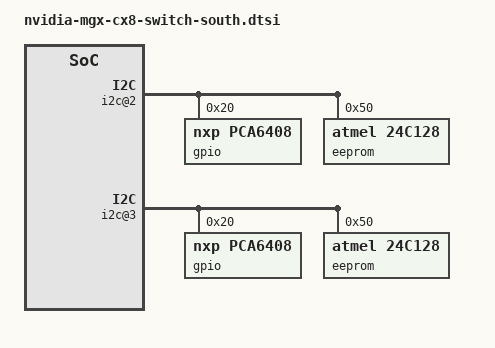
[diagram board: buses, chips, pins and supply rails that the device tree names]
// SPDX-License-Identifier: GPL-2.0-or-later
// Copyright 2025 Nvidia

eeprom@56 {
	compatible = "atmel,24c128";
	reg = <0x56>;
};

gpio@26 {
	compatible = "nxp,pca9555";
	reg = <0x26>;
	gpio-controller;
	#gpio-cells = <2>;
	gpio-line-names = "WP_QSPI_CX1", "RST_SEQ_CX1_L",
			  "BOOT_CMPLT_CX1", "FNP_CX1_L",
			  "WP_FRU_CX1", "OVT_SHUTDOWN_CX1",
			  "TMP_WARNING_CX1", "USB_HUB2_RST_L",
			  "I2C_SWITCH2_RESET", "",
			  "", "",
			  "", "",
			  "", "";
};

i2c-mux@72 {
	compatible = "nxp,pca9546";
	reg = <0x72>;
	i2c-mux-idle-disconnect;
	#address-cells = <1>;
	#size-cells = <0>;

	i2c@0 {
		#address-cells = <1>;
		#size-cells = <0>;
		reg = <0>;
	};
	i2c@1 {
		#address-cells = <1>;
		#size-cells = <0>;
		reg = <1>;
	};
	i2c@2 {
		#address-cells = <1>;
		#size-cells = <0>;
		reg = <2>;
		gpio@20 {
			reg = <0x20>;
			gpio-controller;
			compatible = "nxp,pca6408";
			#gpio-cells = <2>;
			gpio-line-names = "GLOBAL_WP", "OOB_RST_N",
					  "OOB_RECOVERY", "MCU_RECOVERY_N",
					  "MCU_RST_N", "MCU_BYPASS_N",
					  "SMBUS_FRU_EEPROM_WP", "";
		};
		eeprom@50 {
			reg = <0x50>;
			compatible = "atmel,24c128";
		};
	};
	i2c@3 {
		#address-cells = <1>;
		#size-cells = <0>;
		reg = <3>;
		gpio@20 {
			reg = <0x20>;
			gpio-controller;
			compatible = "nxp,pca6408";
			#gpio-cells = <2>;
			gpio-line-names = "GLOBAL_WP", "OOB_RST_N",
					  "OOB_RECOVERY", "MCU_RECOVERY_N",
					  "MCU_RST_N", "MCU_BYPASS_N",
					  "SMBUS_FRU_EEPROM_WP", "";
		};
		eeprom@50 {
			reg = <0x50>;
			compatible = "atmel,24c128";
		};
	};
};

